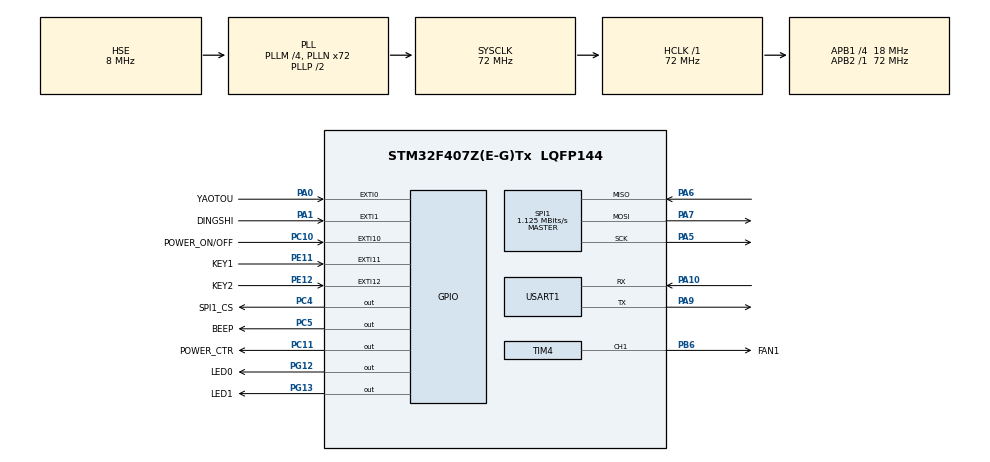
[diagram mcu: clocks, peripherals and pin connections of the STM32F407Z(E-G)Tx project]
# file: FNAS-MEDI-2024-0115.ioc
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Mcu.Family=STM32F4
Mcu.Name=STM32F407Z(E-G)Tx
Mcu.Package=LQFP144
NVIC.EXTI0_IRQn=true\:1\:0\:true\:true\:true\:6\:true\:true\:true
NVIC.EXTI15_10_IRQn=true\:0\:0\:true\:true\:true\:4\:true\:true\:true
NVIC.EXTI1_IRQn=true\:1\:0\:true\:true\:true\:5\:true\:true\:true
NVIC.PriorityGroup=NVIC_PRIORITYGROUP_4
NVIC.TIM2_IRQn=true\:0\:0\:false\:true\:true\:1\:true\:true\:true
NVIC.TIM3_IRQn=true\:0\:0\:true\:true\:true\:2\:true\:true\:true
NVIC.TIM4_IRQn=true\:0\:0\:false\:true\:true\:3\:true\:true\:true
NVIC.USART1_IRQn=true\:0\:0\:false\:false\:true\:true\:true\:true
PA0-WKUP.GPIO_Label=YAOTOU
PA0-WKUP.GPIO_ModeDefaultEXTI=GPIO_MODE_IT_FALLING
PA0-WKUP.GPIO_PuPd=GPIO_PULLUP
PA0-WKUP.Signal=GPXTI0
PA1.GPIO_Label=DINGSHI
PA1.GPIO_ModeDefaultEXTI=GPIO_MODE_IT_FALLING
PA1.GPIO_PuPd=GPIO_PULLUP
PA1.Signal=GPXTI1
PA10.Mode=Asynchronous
PA10.Signal=USART1_RX
PA13.Mode=Serial_Wire
PA13.Signal=SYS_JTMS-SWDIO
PA14.Mode=Serial_Wire
PA14.Signal=SYS_JTCK-SWCLK
PA5.Mode=Full_Duplex_Master
PA5.Signal=SPI1_SCK
PA6.Mode=Full_Duplex_Master
PA6.Signal=SPI1_MISO
PA7.Mode=Full_Duplex_Master
PA7.Signal=SPI1_MOSI
PA9.Mode=Asynchronous
PA9.Signal=USART1_TX
PB6.GPIO_Label=FAN1
PB6.GPIO_PuPd=GPIO_PULLDOWN
PB6.GPIO_Speed=GPIO_SPEED_FREQ_HIGH
PB6.Signal=S_TIM4_CH1
PC10.GPIO_Label=POWER_ON/OFF
PC10.GPIO_ModeDefaultEXTI=GPIO_MODE_IT_FALLING
PC10.GPIO_PuPd=GPIO_PULLUP
PC10.Signal=GPXTI10
PC11.GPIO_Label=POWER_CTR
PC11.GPIO_ModeDefaultOutputPP=GPIO_MODE_OUTPUT_PP
PC11.GPIO_PuPd=GPIO_PULLDOWN
PC11.GPIO_Speed=GPIO_SPEED_FREQ_HIGH
PC11.Signal=GPIO_Output
PC4.GPIO_Label=SPI1_CS
PC4.GPIO_PuPd=GPIO_PULLUP
PC4.GPIO_Speed=GPIO_SPEED_FREQ_HIGH
PC4.PinState=GPIO_PIN_SET
PC4.Signal=GPIO_Output
PC5.GPIO_Label=BEEP
PC5.GPIO_ModeDefaultOutputPP=GPIO_MODE_OUTPUT_PP
PC5.GPIO_PuPd=GPIO_PULLDOWN
PC5.GPIO_Speed=GPIO_SPEED_FREQ_HIGH
PC5.Signal=GPIO_Output
PE11.GPIO_Label=KEY1
PE11.GPIO_ModeDefaultEXTI=GPIO_MODE_IT_FALLING
PE11.GPIO_PuPd=GPIO_PULLUP
PE11.Signal=GPXTI11
PE12.GPIO_Label=KEY2
PE12.GPIO_ModeDefaultEXTI=GPIO_MODE_IT_FALLING
PE12.GPIO_PuPd=GPIO_PULLUP
PE12.Signal=GPXTI12
PG12.GPIO_Label=LED0
PG12.GPIO_ModeDefaultOutputPP=GPIO_MODE_OUTPUT_PP
PG12.GPIO_PuPd=GPIO_PULLUP
PG12.GPIO_Speed=GPIO_SPEED_FREQ_HIGH
PG12.PinState=GPIO_PIN_SET
PG12.Signal=GPIO_Output
PG13.GPIO_Label=LED1
PG13.GPIO_ModeDefaultOutputPP=GPIO_MODE_OUTPUT_PP
PG13.GPIO_PuPd=GPIO_PULLUP
PG13.GPIO_Speed=GPIO_SPEED_FREQ_HIGH
PG13.PinState=GPIO_PIN_SET
PG13.Signal=GPIO_Output
PH0-OSC_IN.Mode=HSE-External-Oscillator
PH0-OSC_IN.Signal=RCC_OSC_IN
PH1-OSC_OUT.Mode=HSE-External-Oscillator
PH1-OSC_OUT.Signal=RCC_OSC_OUT
ProjectManager.HeapSize=0x200
ProjectManager.StackSize=0x400
ProjectManager.TargetToolchain=MDK-ARM V5.32
RCC.48MHZClocksFreq_Value=36000000
RCC.AHBFreq_Value=72000000
RCC.APB1CLKDivider=RCC_HCLK_DIV4
RCC.APB1Freq_Value=18000000
RCC.APB1TimFreq_Value=36000000
RCC.APB2Freq_Value=72000000
RCC.APB2TimFreq_Value=72000000
RCC.CortexFreq_Value=72000000
RCC.HCLKFreq_Value=72000000
RCC.HSE_VALUE=8000000
RCC.HSI_VALUE=16000000
RCC.LSE_VALUE=32768
RCC.PLLM=4
RCC.PLLN=72
RCC.PLLSourceVirtual=RCC_PLLSOURCE_HSE
RCC.SYSCLKFreq_VALUE=72000000
RCC.SYSCLKSource=RCC_SYSCLKSOURCE_PLLCLK
RCC.VCOOutputFreq_Value=144000000
SH.S_TIM4_CH1.0=TIM4_CH1,PWM Generation1 CH1
SPI1.BaudRatePrescaler=SPI_BAUDRATEPRESCALER_64
SPI1.CalculateBaudRate=1.125 MBits/s
SPI1.Direction=SPI_DIRECTION_2LINES
SPI1.Mode=SPI_MODE_MASTER
SPI1.VirtualType=VM_MASTER
TIM2.AutoReloadPreload=TIM_AUTORELOAD_PRELOAD_ENABLE
TIM2.Period=5000-1
TIM2.Prescaler=72-1
TIM3.AutoReloadPreload=TIM_AUTORELOAD_PRELOAD_ENABLE
TIM3.Period=5000-1
TIM3.Prescaler=72-1
TIM4.AutoReloadPreload=TIM_AUTORELOAD_PRELOAD_ENABLE
TIM4.Channel-PWM\ Generation1\ CH1=TIM_CHANNEL_1
TIM4.OCPolarity_1=TIM_OCPOLARITY_HIGH
TIM4.Period=20000-1
TIM4.Prescaler=72-1
USART1.VirtualMode=VM_ASYNC
VP_TIM2_VS_ClockSourceINT.Mode=Internal
VP_TIM3_VS_ClockSourceINT.Mode=Internal
VP_TIM4_VS_ClockSourceINT.Mode=Internal
board=custom

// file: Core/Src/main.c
/* USER CODE BEGIN Header */
/**
  ******************************************************************************
  * @file           : main.c
  * @brief          : Main program body
  ******************************************************************************
  * @attention
  *
  * Copyright (c) 2024 STMicroelectronics.
  * All rights reserved.
  *
  * This software is licensed under terms that can be found in the LICENSE file
  * in the root directory of this software component.
  * If no LICENSE file comes with this software, it is provided AS-IS.
  *
  ******************************************************************************
  */
/* USER CODE END Header */
#include "main.h"
#include "spi.h"
#include "tim.h"
#include "usart.h"
#include "gpio.h"

/* USER CODE BEGIN Includes */
#include "key.h"
#include "w25qxx.h"
#include <stdio.h>// 包含标准输入输出头文件
/* USER CODE END Includes */

/* USER CODE BEGIN PV */

//SPI_HandleTypeDef hspi1;

//UART_HandleTypeDef huart1;

uint16_t device_id;
uint8_t write_buf[]= {"duwiewei"};
#define SIZE sizeof(write_buf)
uint8_t read_buf[SIZE];
int i;
uint32_t FLASH_SIZE;

/* USER CODE END PV */

void SystemClock_Config(void);
static void MX_NVIC_Init(void);

/* USER CODE BEGIN 0 */
int key =0;

/* USER CODE END 0 */

int main(void)
{
    /* USER CODE BEGIN 1 */
    FLASH_SIZE=16*1024*1024;

    /* USER CODE END 1 */

    /* MCU Configuration--------------------------------------------------------*/

    /* Reset of all peripherals, Initializes the Flash interface and the Systick. */
    HAL_Init();

    /* Configure the system clock */
    SystemClock_Config();

    /* Initialize all configured peripherals */
    MX_GPIO_Init();
    MX_TIM2_Init();
    MX_TIM3_Init();
    MX_TIM4_Init();
    MX_SPI1_Init();
    MX_USART1_UART_Init();

    /* Initialize interrupts */
    MX_NVIC_Init();
    /* USER CODE BEGIN 2 */
    W25QXX_Init();

    HAL_GPIO_WritePin(GPIOC, POWER_CTR_Pin, GPIO_PIN_SET);
    HAL_GPIO_WritePin(GPIOC, BEEP_Pin, GPIO_PIN_SET);
    HAL_Delay(500);
    HAL_GPIO_WritePin(GPIOC, BEEP_Pin, GPIO_PIN_RESET);

//    device_id = W25QXX_ReadID();
//    printf("W25Q16 Device ID is 0x%04x\r\n", device_id);

    /* 为了验证，首先读取要写入地址处的数据 */
//    printf("-------- read data before write -----------\r\n");
//    W25QXX_Read(read_buf, 0, 10);

//    for(i = 0; i < 10; i++)
//    {
//        printf("[0x%08x]:0x%02x\r\n", i, *(read_buf+i));
//    }

//    /* 擦除该扇区 */
//    printf("-------- erase sector 0 -----------\r\n");
//    W25QXX_Erase_Sector(0);

//    /* 再次读数据 */
//    printf("-------- read data after erase -----------\r\n");
//    W25QXX_Read(read_buf, 0, 10);
//    for(i = 0; i < 10; i++)
//    {
//        printf("[0x%08x]:0x%02x\r\n", i, *(read_buf+i));
//    }

//    /* 擦除该扇区 */
//    printf("-------- erase sector 0 -----------\r\n");
//    W25QXX_Erase_Sector(0);

//    /* 再次读数据 */
//    printf("-------- read data after erase -----------\r\n");
//    W25QXX_Read(read_buf, 0, 10);
//    for(i = 0; i < 10; i++)
//    {
//        printf("[0x%08x]:0x%02x\r\n", i, *(read_buf+i));
//    }

    /* 写数据 */
//    printf("-------- write data -----------\r\n");
//	for(i = 0; i < 10; i++)
//    {
//        printf("%d\r\n", *(write_buf+i));
//
//	}
//
//    for(i = 0; i < 10; i++)
//    {
//        write_buf[i] = i;
//    }
//	W25QXX_Write((u8*)write_buf,FLASH_SIZE-100,SIZE) ;
//	HAL_UART_Transmit(&huart1,(uint8_t*)write_buf,SIZE,1000);
//	printf("\r\n");
//	printf("%d\n", *write_buf);

    /* 再次读数据 */
    printf("-------- read data after write -----------\r\n");
//	W25QXX_Read((u8*)read_buf,100,100) ;
    W25QXX_Read(read_buf, FLASH_SIZE-300, SIZE);

//    for(i = 0; i < 10; i++)
//    {
//        printf("%d", *(read_buf+i));
//
//	}

    HAL_UART_Transmit(&huart1,(uint8_t*)read_buf,SIZE,1000);

    if(read_buf[0] == 'a')
    {
        a = 4, b =3;
//        HAL_GPIO_WritePin(GPIOG, LED0_Pin|LED1_Pin, GPIO_PIN_RESET);
        TIM_SetTIM4Compare1(10000);//风类-清凉-2级
    }

    else if(read_buf[0] == 'b')
    {
        a = 4, b =2;
//        HAL_GPIO_WritePin(GPIOG, LED0_Pin|LED1_Pin, GPIO_PIN_RESET);
        TIM_SetTIM4Compare1(12000);//风类-清凉-3级
    }

    else if(read_buf[0] == 'c')
    {
        a = 4, b =4;
//        HAL_GPIO_WritePin(GPIOG, LED0_Pin|LED1_Pin, GPIO_PIN_RESET);
        TIM_SetTIM4Compare1(8000);//风类-清凉-1级
    }

    if(read_buf[0] == 'd')
    {
        a = 3, b1 =3;
//        HAL_GPIO_WritePin(GPIOG, LED0_Pin|LED1_Pin, GPIO_PIN_RESET);
        TIM_SetTIM4Compare1(15000);//风类-清凉-2级
    }

    else if(read_buf[0] == 'e')
    {
        a = 3, b1 =2;
//        HAL_GPIO_WritePin(GPIOG, LED0_Pin|LED1_Pin, GPIO_PIN_RESET);
        TIM_SetTIM4Compare1(17000);//风类-清凉-3级
    }

    else if(read_buf[0] == 'f')
    {
        a = 3, b1 =4;
//        HAL_GPIO_WritePin(GPIOG, LED0_Pin|LED1_Pin, GPIO_PIN_RESET);
        TIM_SetTIM4Compare1(13000);//风类-清凉-1级
    }

    if(read_buf[0] == 'g')
    {
        a = 2, b2 =3;
//        HAL_GPIO_WritePin(GPIOG, LED0_Pin|LED1_Pin, GPIO_PIN_RESET);
        TIM_SetTIM4Compare1(20000);//风类-清凉-2级
    }

    else if(read_buf[0] == 'h')
    {
        a = 2, b2 =4;
//        HAL_GPIO_WritePin(GPIOG, LED0_Pin|LED1_Pin, GPIO_PIN_RESET);
        TIM_SetTIM4Compare1(18000);//风类-清凉-3级
    }

    else if(read_buf[0] == 'j')
    {
        a = 5;
//        HAL_GPIO_WritePin(GPIOG, LED0_Pin|LED1_Pin, GPIO_PIN_RESET);
        TIM_SetTIM4Compare1(4000);//风类-清凉-3级
    }

    /* USER CODE END 2 */

    /* Infinite loop */
    while (1)
    {

    }
}

void SystemClock_Config(void)
{
    RCC_OscInitTypeDef RCC_OscInitStruct = {0};
    RCC_ClkInitTypeDef RCC_ClkInitStruct = {0};

    /** Configure the main internal regulator output voltage
    */
    __HAL_RCC_PWR_CLK_ENABLE();
    __HAL_PWR_VOLTAGESCALING_CONFIG(PWR_REGULATOR_VOLTAGE_SCALE1);

    /** Initializes the RCC Oscillators according to the specified parameters
    * in the RCC_OscInitTypeDef structure.
    */
    RCC_OscInitStruct.OscillatorType = RCC_OSCILLATORTYPE_HSE;
    RCC_OscInitStruct.HSEState = RCC_HSE_ON;
    RCC_OscInitStruct.PLL.PLLState = RCC_PLL_ON;
    RCC_OscInitStruct.PLL.PLLSource = RCC_PLLSOURCE_HSE;
    RCC_OscInitStruct.PLL.PLLM = 4;
    RCC_OscInitStruct.PLL.PLLN = 72;
    RCC_OscInitStruct.PLL.PLLP = RCC_PLLP_DIV2;
    RCC_OscInitStruct.PLL.PLLQ = 4;
    if (HAL_RCC_OscConfig(&RCC_OscInitStruct) != HAL_OK)
    {
        Error_Handler();
    }

    /** Initializes the CPU, AHB and APB buses clocks
    */
    RCC_ClkInitStruct.ClockType = RCC_CLOCKTYPE_HCLK|RCC_CLOCKTYPE_SYSCLK
                                  |RCC_CLOCKTYPE_PCLK1|RCC_CLOCKTYPE_PCLK2;
    RCC_ClkInitStruct.SYSCLKSource = RCC_SYSCLKSOURCE_PLLCLK;
    RCC_ClkInitStruct.AHBCLKDivider = RCC_SYSCLK_DIV1;
    RCC_ClkInitStruct.APB1CLKDivider = RCC_HCLK_DIV4;
    RCC_ClkInitStruct.APB2CLKDivider = RCC_HCLK_DIV1;

    if (HAL_RCC_ClockConfig(&RCC_ClkInitStruct, FLASH_LATENCY_2) != HAL_OK)
    {
        Error_Handler();
    }
}

/**
  * @brief NVIC Configuration.
  * @retval None
  */
static void MX_NVIC_Init(void)
{
    /* TIM2_IRQn interrupt configuration */
    HAL_NVIC_SetPriority(TIM2_IRQn, 0, 0);
    HAL_NVIC_EnableIRQ(TIM2_IRQn);
    /* TIM3_IRQn interrupt configuration */
    HAL_NVIC_SetPriority(TIM3_IRQn, 0, 0);
    HAL_NVIC_EnableIRQ(TIM3_IRQn);
    /* TIM4_IRQn interrupt configuration */
    HAL_NVIC_SetPriority(TIM4_IRQn, 0, 0);
    HAL_NVIC_EnableIRQ(TIM4_IRQn);
    /* EXTI15_10_IRQn interrupt configuration */
    HAL_NVIC_SetPriority(EXTI15_10_IRQn, 0, 0);
    HAL_NVIC_EnableIRQ(EXTI15_10_IRQn);
    /* EXTI1_IRQn interrupt configuration */
    HAL_NVIC_SetPriority(EXTI1_IRQn, 1, 0);
    HAL_NVIC_EnableIRQ(EXTI1_IRQn);
    /* EXTI0_IRQn interrupt configuration */
    HAL_NVIC_SetPriority(EXTI0_IRQn, 1, 0);
    HAL_NVIC_EnableIRQ(EXTI0_IRQn);
}

void Error_Handler(void)
{
    __disable_irq();
    while (1)
    {
    }
}
